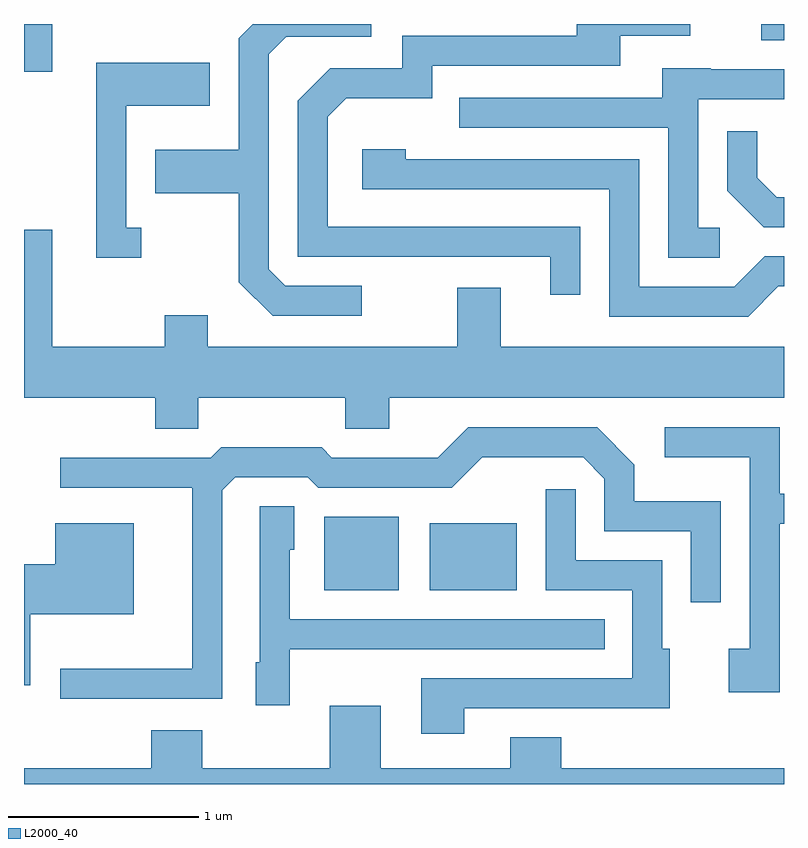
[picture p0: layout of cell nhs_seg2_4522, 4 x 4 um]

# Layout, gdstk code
import gdstk
lib = gdstk.Library(unit=1e-6, precision=1e-09)
def R(c, l, rs):  # rectangles x0, y0, x1, y1
    for r in rs: c.add(gdstk.rectangle(r[:2], r[2:], *l))
def P(c, l, *ps):  # polygons
    for p in ps: c.add(gdstk.Polygon(p, *l))
L2000_40 = (2000, 40)

nhs_seg2_4522 = lib.new_cell('nhs_seg2_4522')
R(nhs_seg2_4522, L2000_40, [(319.191,1082.821,319.584,1083.209), (319.746,1082.821,320.204,1083.174), (317.611,1085.551,317.759,1085.802), (321.491,1085.716,321.611,1085.802)])
P(nhs_seg2_4522, L2000_40, [(319.388,1084.424),(318.987,1084.424),(318.899,1084.512),(318.899,1085.644),(318.992,1085.736),(319.438,1085.736),(319.438,1085.802),(318.816,1085.802),(318.741,1085.727),(318.741,1085.139),(318.301,1085.139),(318.301,1084.911),(318.741,1084.911),(318.741,1084.444),(318.919,1084.266),(319.388,1084.266)],
  [(320.539,1084.734),(319.209,1084.734),(319.209,1085.314),(319.307,1085.411),(319.759,1085.411),(319.759,1085.581),(320.749,1085.581),(320.749,1085.741),(321.118,1085.741),(321.118,1085.802),(320.521,1085.802),(320.521,1085.739),(319.601,1085.739),(319.601,1085.569),(319.224,1085.569),(319.051,1085.397),(319.051,1084.576),(320.381,1084.576),(320.381,1084.378),(320.539,1084.378)],
  [(318.228,1084.729),(318.149,1084.729),(318.149,1085.371),(318.589,1085.371),(318.589,1085.599),(317.991,1085.599),(317.991,1084.571),(318.228,1084.571)],
  [(321.273,1084.729),(321.159,1084.729),(321.159,1085.406),(321.611,1085.406),(321.611,1085.564),(321.225,1085.564),(321.225,1085.569),(320.971,1085.569),(320.971,1085.414),(319.903,1085.414),(319.903,1085.256),(321.001,1085.256),(321.001,1084.571),(321.273,1084.571)],
  [(321.611,1084.889),(321.572,1084.889),(321.469,1084.992),(321.469,1085.238),(321.311,1085.238),(321.311,1084.924),(321.504,1084.731),(321.611,1084.731)],
  [(321.582,1084.421),(321.611,1084.421),(321.611,1084.579),(321.509,1084.579),(321.349,1084.419),(320.849,1084.419),(320.849,1085.089),(319.619,1085.089),(319.619,1085.144),(319.391,1085.144),(319.391,1084.931),(320.691,1084.931),(320.691,1084.261),(321.422,1084.261)],
  [(318.529,1083.836),(319.301,1083.836),(319.301,1083.671),(319.534,1083.671),(319.534,1083.836),(321.611,1083.836),(321.611,1084.104),(320.119,1084.104),(320.119,1084.414),(319.891,1084.414),(319.891,1084.104),(318.579,1084.104),(318.579,1084.269),(318.351,1084.269),(318.351,1084.104),(317.759,1084.104),(317.759,1084.719),(317.611,1084.719),(317.611,1083.836),(318.301,1083.836),(318.301,1083.671),(318.529,1083.671)],
  [(318.654,1083.349),(318.722,1083.416),(319.104,1083.416),(319.159,1083.361),(319.862,1083.361),(320.022,1083.521),(320.554,1083.521),(320.666,1083.409),(320.666,1083.131),(321.121,1083.131),(321.121,1082.758),(321.279,1082.758),(321.279,1083.289),(320.824,1083.289),(320.824,1083.482),(320.627,1083.679),(319.949,1083.679),(319.789,1083.519),(319.232,1083.519),(319.177,1083.574),(318.649,1083.574),(318.594,1083.519),(317.803,1083.519),(317.803,1083.361),(318.496,1083.361),(318.496,1082.409),(317.803,1082.409),(317.803,1082.251),(318.654,1082.251)],
  [(321.589,1083.171),(321.611,1083.171),(321.611,1083.329),(321.589,1083.329),(321.589,1083.679),(320.983,1083.679),(320.983,1083.521),(321.431,1083.521),(321.431,1082.514),(321.321,1082.514),(321.321,1082.286),(321.589,1082.286)],
  [(319.929,1082.201),(321.009,1082.201),(321.009,1082.514),(320.969,1082.514),(320.969,1082.979),(320.514,1082.979),(320.514,1083.353),(320.356,1083.353),(320.356,1082.821),(320.811,1082.821),(320.811,1082.359),(319.701,1082.359),(319.701,1082.066),(319.929,1082.066)],
  [(319.009,1082.511),(320.668,1082.511),(320.668,1082.669),(319.009,1082.669),(319.009,1083.036),(319.034,1083.036),(319.034,1083.264),(318.851,1083.264),(318.851,1082.444),(318.831,1082.444),(318.831,1082.216),(319.009,1082.216)],
  [(317.644,1082.696),(318.189,1082.696),(318.189,1083.174),(317.776,1083.174),(317.776,1082.959),(317.611,1082.959),(317.611,1082.321),(317.644,1082.321)],
  [(321.611,1081.884),(320.439,1081.884),(320.439,1082.049),(320.171,1082.049),(320.171,1081.884),(319.489,1081.884),(319.489,1082.214),(319.221,1082.214),(319.221,1081.884),(318.549,1081.884),(318.549,1082.084),(318.281,1082.084),(318.281,1081.884),(317.611,1081.884),(317.611,1081.802),(321.611,1081.802)])

lib.write_gds('nhs_seg2_4522.gds')
